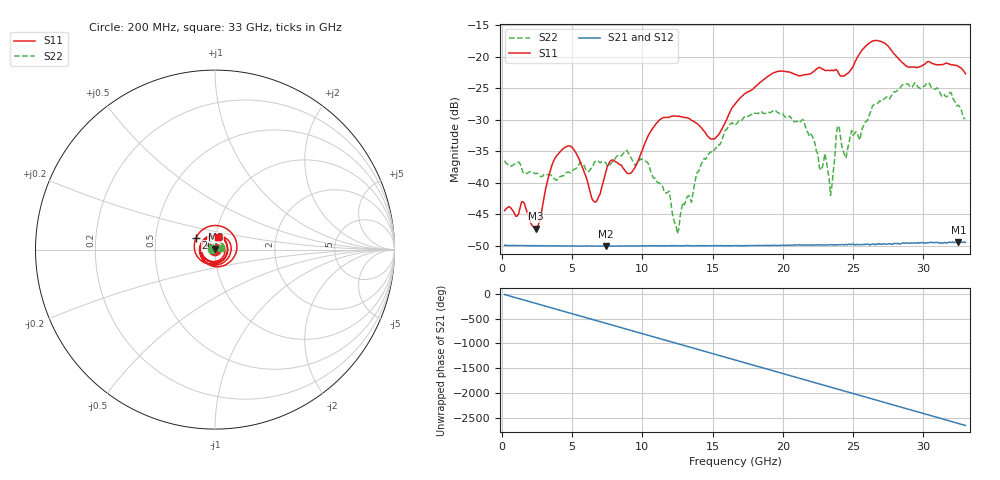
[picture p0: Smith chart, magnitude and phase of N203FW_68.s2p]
# GHZ S RI R 50
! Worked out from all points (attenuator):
!   329 points, 200 MHz to 33 GHz, reference 50 ohm
!   highest |S21| = -49.42 dB at 32.5 GHz (marker M1); lowest = -50.1 dB at 7.4 GHz (marker M2)
!   lowest |S11| = -47.3 dB at 2.4 GHz (marker M3), VSWR 1.01, Z = 50.2 + j0.354 ohm
!   |S11| at or under -10 dB: start of sweep to end of sweep
!   |S22| runs from -48.1 to -24.1 dB; largest |S21 - S12| = 8.8e-05
!   S11 on the Smith chart (normalised r, x): 200 MHz: 1.01, +0.00; 26 GHz: 0.80, +0.11; 33 GHz: 1.03, +0.15
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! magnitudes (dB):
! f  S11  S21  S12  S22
! 200 MHz  -44.4  -50.0  -49.9  -36.5
! 2.4 GHz  -47.3  -50.0  -50.0  -38.6
! 3.9 GHz  -35.7  -50.0  -50.0  -39.6
! 5.7 GHz  -37.4  -50.1  -50.1  -36.9
! 6.6 GHz  -43.1  -50.1  -50.1  -36.7
! 7.4 GHz  -38.3  -50.1  -50.0  -36.8
! 9.2 GHz  -38.5  -50.0  -50.0  -36.0
! 11.2 GHz  -30.1  -50.0  -50.0  -40.0
! 12.5 GHz  -29.5  -50.0  -50.0  -48.1
! 15.1 GHz  -33.1  -50.0  -50.0  -34.9
! 16.6 GHz  -27.5  -50.0  -50.0  -30.8
! 19.4 GHz  -22.5  -50.0  -50.0  -28.5
! 22.1 GHz  -22.5  -49.9  -49.9  -32.6
! 22.7 GHz  -21.8  -49.9  -49.8  -38.0
! 23 GHz  -22.2  -49.9  -49.9  -35.4
! 23.4 GHz  -22.2  -49.8  -49.9  -42.0
! 23.9 GHz  -22.3  -49.9  -49.9  -31.1
! 24.5 GHz  -22.8  -49.8  -49.8  -36.1
! 26 GHz  -18.2  -49.8  -49.8  -30.2
! 27.6 GHz  -18.6  -49.7  -49.7  -26.7
! 32.5 GHz  -21.6  -49.4  -49.4  -27.7
! 33 GHz  -22.7  -49.5  -49.5  -29.8
